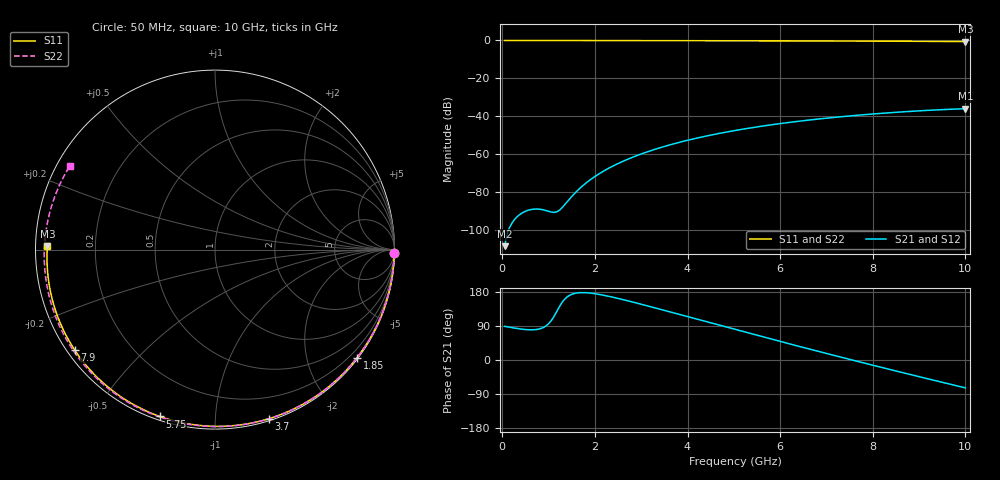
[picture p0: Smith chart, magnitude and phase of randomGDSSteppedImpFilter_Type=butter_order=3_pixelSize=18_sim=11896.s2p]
! freq	dB(S11)	phase(S11)	dB(S12)	phase(S12)
!  dB(S21)	phase(S21)	dB(S22)	phase(S22)
!S-par simulation data
#  GHz  S  DB  R 50
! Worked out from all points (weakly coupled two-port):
!   200 points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, 50 MHz to 10 GHz, reference 50 ohm
!   highest |S21| = -35.92 dB at 10 GHz (marker M1); lowest = -108.4 dB at 50 MHz (marker M2)
!   lowest |S11| = -0.6 dB at 10 GHz (marker M3), VSWR 29.24, Z = 1.71 + j0.506 ohm
!   |S11| at or under -10 dB: nowhere
!   |S22| runs from -0.6 to 0.0 dB; largest |S21 - S12| = 0
!   S11 on the Smith chart (normalised r, x): 50 MHz: open; 1.85 GHz: 0.03, -2.96; 3.7 GHz: 0.02, -1.37; 5.75 GHz: 0.02, -0.72; 7.9 GHz: 0.02, -0.32; 10 GHz: 0.03, +0.01
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0.05  -0.00 -1.0  -108.35 88.9  -108.35 88.9  -0.00 -1.2
0.45  -0.01 -9.2  -90.55 81.0  -90.55 81.0  -0.02 -11.0
0.8  -0.02 -16.3  -88.87 82.0  -88.87 82.0  -0.03 -19.6
1.55  -0.04 -31.4  -80.86 175.4  -80.86 175.4  -0.05 -37.6
1.6  -0.04 -32.4  -79.61 176.7  -79.61 176.7  -0.05 -38.8
1.75  -0.04 -35.3  -76.24 177.9  -76.24 177.9  -0.05 -42.3
1.85  -0.05 -37.3  -74.27 177.2  -74.27 177.2  -0.06 -44.6
2.15  -0.06 -43.2  -69.34 171.8  -69.34 171.8  -0.07 -51.6
2.5  -0.06 -49.9  -64.82 162.5  -64.82 162.5  -0.08 -59.5
2.9  -0.07 -57.6  -60.69 150.3  -60.69 150.3  -0.09 -68.4
3.4  -0.09 -66.9  -56.55 134.2  -56.55 134.2  -0.10 -79.3
3.7  -0.10 -72.4  -54.45 124.3  -54.45 124.3  -0.11 -85.7
4.35  -0.12 -84.1  -50.62 102.9  -50.62 102.9  -0.14 -99.1
5.05  -0.15 -96.4  -47.32 79.8  -47.32 79.8  -0.17 -113.1
5.75  -0.18 -108.3  -44.63 57.0  -44.63 57.0  -0.21 -126.7
6.7  -0.24 -124.3  -41.72 26.7  -41.72 26.7  -0.27 -144.7
7.3  -0.29 -134.2  -40.21 7.9  -40.21 7.9  -0.32 -156.1
7.9  -0.34 -144.3  -38.93 -10.7  -38.93 -10.7  -0.37 -167.5
8.35  -0.39 -151.9  -38.09 -24.4  -38.09 -24.4  -0.42 -176.2
8.8  -0.44 -159.6  -37.36 -38.1  -37.36 -38.1  -0.46 175.0
9.2  -0.49 -166.6  -36.80 -50.0  -36.80 -50.0  -0.51 166.9
10  -0.59 178.8  -35.92 -73.5  -35.92 -73.5  -0.60 150.1
